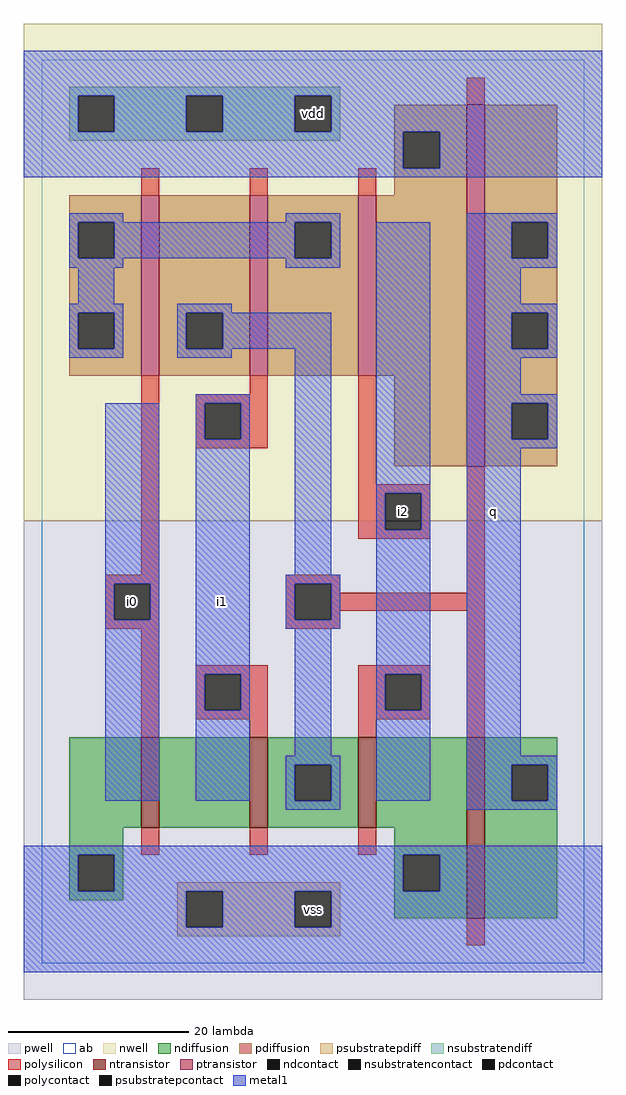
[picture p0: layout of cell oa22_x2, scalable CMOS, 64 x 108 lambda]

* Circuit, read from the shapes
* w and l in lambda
.subckt oa22_x2 i0 i1 i2 q vdd vss
M1 n1 i0 vss vss nfet w=10 l=2
M2 n2 i1 n1 vss nfet w=10 l=2
M3 vss i2 n2 vss nfet w=10 l=2
M4 q n2 vss vss nfet w=20 l=2
M5 n2 i0 n3 vdd pfet w=20 l=2
M6 n3 i1 n2 vdd pfet w=20 l=2
M7 vdd i2 n3 vdd pfet w=20 l=2
M8 q n2 vdd vdd pfet w=40 l=2
.ends

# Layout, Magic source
magic
tech scmos
<< ab >>
rect 0 0 60 100
<< pwell >>
rect -2 -4 62 49
<< nwell >>
rect -2 49 62 104
<< polysilicon >>
rect 47 95 49 98
rect 11 85 13 88
rect 23 85 25 88
rect 35 85 37 88
rect 11 43 13 65
rect 23 63 25 65
rect 17 62 25 63
rect 17 58 18 62
rect 22 58 25 62
rect 17 57 25 58
rect 35 53 37 65
rect 35 52 43 53
rect 35 48 38 52
rect 42 48 43 52
rect 35 47 43 48
rect 7 42 13 43
rect 7 38 8 42
rect 12 38 13 42
rect 7 37 13 38
rect 27 42 33 43
rect 27 38 28 42
rect 32 41 33 42
rect 47 41 49 55
rect 32 39 49 41
rect 32 38 33 39
rect 27 37 33 38
rect 11 25 13 37
rect 17 32 25 33
rect 17 28 18 32
rect 22 28 25 32
rect 17 27 25 28
rect 23 25 25 27
rect 35 32 43 33
rect 35 28 38 32
rect 42 28 43 32
rect 35 27 43 28
rect 35 25 37 27
rect 47 25 49 39
rect 11 12 13 15
rect 23 12 25 15
rect 35 12 37 15
rect 47 2 49 5
<< ndiffusion >>
rect 3 15 11 25
rect 13 15 23 25
rect 25 22 35 25
rect 25 18 28 22
rect 32 18 35 22
rect 25 15 35 18
rect 37 15 47 25
rect 3 12 9 15
rect 39 12 47 15
rect 3 8 4 12
rect 8 8 9 12
rect 3 7 9 8
rect 39 8 40 12
rect 44 8 47 12
rect 39 5 47 8
rect 49 22 57 25
rect 49 18 52 22
rect 56 18 57 22
rect 49 5 57 18
<< pdiffusion >>
rect 39 92 47 95
rect 39 88 40 92
rect 44 88 47 92
rect 39 85 47 88
rect 3 82 11 85
rect 3 78 4 82
rect 8 78 11 82
rect 3 72 11 78
rect 3 68 4 72
rect 8 68 11 72
rect 3 65 11 68
rect 13 72 23 85
rect 13 68 16 72
rect 20 68 23 72
rect 13 65 23 68
rect 25 82 35 85
rect 25 78 28 82
rect 32 78 35 82
rect 25 65 35 78
rect 37 65 47 85
rect 39 55 47 65
rect 49 82 57 95
rect 49 78 52 82
rect 56 78 57 82
rect 49 72 57 78
rect 49 68 52 72
rect 56 68 57 72
rect 49 62 57 68
rect 49 58 52 62
rect 56 58 57 62
rect 49 55 57 58
<< metal1 >>
rect -2 96 62 101
rect -2 92 4 96
rect 8 92 16 96
rect 20 92 28 96
rect 32 92 62 96
rect -2 88 40 92
rect 44 88 62 92
rect -2 87 62 88
rect 3 82 9 83
rect 27 82 33 83
rect 47 82 57 83
rect 3 78 4 82
rect 8 78 28 82
rect 32 78 33 82
rect 3 77 9 78
rect 27 77 33 78
rect 4 73 8 77
rect 3 72 9 73
rect 3 68 4 72
rect 8 68 9 72
rect 3 67 9 68
rect 15 72 21 73
rect 15 68 16 72
rect 20 68 32 72
rect 15 67 21 68
rect 17 62 23 63
rect 7 42 13 62
rect 7 38 8 42
rect 12 38 13 42
rect 7 18 13 38
rect 17 58 18 62
rect 22 58 23 62
rect 17 32 23 58
rect 28 43 32 68
rect 37 52 43 82
rect 37 48 38 52
rect 42 48 43 52
rect 27 42 33 43
rect 27 38 28 42
rect 32 38 33 42
rect 27 37 33 38
rect 17 28 18 32
rect 22 28 23 32
rect 17 18 23 28
rect 28 23 32 37
rect 37 32 43 48
rect 37 28 38 32
rect 42 28 43 32
rect 27 22 33 23
rect 27 18 28 22
rect 32 18 33 22
rect 37 18 43 28
rect 47 78 52 82
rect 56 78 57 82
rect 47 77 57 78
rect 47 73 53 77
rect 47 72 57 73
rect 47 68 52 72
rect 56 68 57 72
rect 47 67 57 68
rect 47 63 53 67
rect 47 62 57 63
rect 47 58 52 62
rect 56 58 57 62
rect 47 57 57 58
rect 47 23 53 57
rect 47 22 57 23
rect 47 18 52 22
rect 56 18 57 22
rect 27 17 33 18
rect 47 17 57 18
rect -2 12 62 13
rect -2 8 4 12
rect 8 8 40 12
rect 44 8 62 12
rect -2 4 16 8
rect 20 4 28 8
rect 32 4 62 8
rect -2 -1 62 4
<< ntransistor >>
rect 11 15 13 25
rect 23 15 25 25
rect 35 15 37 25
rect 47 5 49 25
<< ptransistor >>
rect 11 65 13 85
rect 23 65 25 85
rect 35 65 37 85
rect 47 55 49 95
<< polycontact >>
rect 18 58 22 62
rect 38 48 42 52
rect 8 38 12 42
rect 28 38 32 42
rect 18 28 22 32
rect 38 28 42 32
<< ndcontact >>
rect 28 18 32 22
rect 4 8 8 12
rect 40 8 44 12
rect 52 18 56 22
<< pdcontact >>
rect 40 88 44 92
rect 4 78 8 82
rect 4 68 8 72
rect 16 68 20 72
rect 28 78 32 82
rect 52 78 56 82
rect 52 68 56 72
rect 52 58 56 62
<< psubstratepcontact >>
rect 16 4 20 8
rect 28 4 32 8
<< nsubstratencontact >>
rect 4 92 8 96
rect 16 92 20 96
rect 28 92 32 96
<< psubstratepdiff >>
rect 15 8 33 9
rect 15 4 16 8
rect 20 4 28 8
rect 32 4 33 8
rect 15 3 33 4
<< nsubstratendiff >>
rect 3 96 33 97
rect 3 92 4 96
rect 8 92 16 96
rect 20 92 28 96
rect 32 92 33 96
rect 3 91 33 92
<< labels >>
rlabel polycontact 10 40 10 40 6 i0
rlabel polycontact 10 40 10 40 6 i0
rlabel metal1 20 40 20 40 6 i1
rlabel metal1 20 40 20 40 6 i1
rlabel psubstratepcontact 30 6 30 6 6 vss
rlabel psubstratepcontact 30 6 30 6 6 vss
rlabel polycontact 40 50 40 50 6 i2
rlabel polycontact 40 50 40 50 6 i2
rlabel nsubstratencontact 30 94 30 94 6 vdd
rlabel nsubstratencontact 30 94 30 94 6 vdd
rlabel metal1 50 50 50 50 6 q
rlabel metal1 50 50 50 50 6 q
<< end >>
